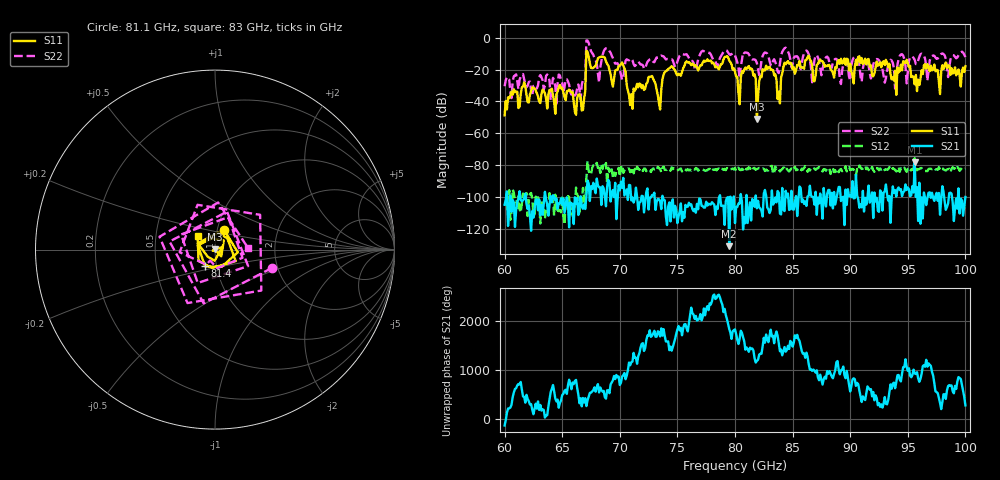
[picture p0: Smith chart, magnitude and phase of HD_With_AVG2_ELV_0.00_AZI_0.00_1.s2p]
! 11/25/2026 10:09:58 AM
! C:\ANRITSUVNA\TEMP\TEMP.S2P
! CHANNEL.1
! TR.MEASUREMENT
! RAW.DATA
# HZ S RI R 50.0
! FREQ.HZ  S11RE  S11IM  S21RE  S21IM  S12RE  S12IM  S22RE  S22IM
!; PortSelection: Port_12
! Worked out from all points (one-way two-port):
!   401 points, 60 GHz to 100 GHz, reference 50 ohm
!   highest |S21| = -78.40 dB at 95.6 GHz (marker M1); lowest = -131.0 dB at 79.5 GHz (marker M2)
!   lowest |S11| = -51.0 dB at 81.9 GHz (marker M3), VSWR 1.01, Z = 49.7 + j0.104 ohm
!   |S11| at or under -10 dB: start of sweep to 67.09 GHz; 67.23 GHz to end of sweep
!   |S22| runs from -42.8 to -1.7 dB; largest |S21 - S12| = 0.00026
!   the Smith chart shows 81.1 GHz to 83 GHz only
!   S11 on the Smith chart (normalised r, x): 81.1 GHz: 1.08, +0.24; 81.4 GHz: 0.88, -0.17; 83 GHz: 0.81, +0.12
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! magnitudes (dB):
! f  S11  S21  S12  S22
! 60 GHz  -48.8  -104.9  -103.2  -30.5
! 61.6 GHz  -30.6  -102.2  -97.9  -22.8
! 66.7 GHz  -45.7  -105.9  -103.4  -29.5
! 67.3 GHz  -12.1  -91.6  -83.8  -3.2
! 68.4 GHz  -11.8  -105.1  -80.6  -14.7
! 70.3 GHz  -17.5  -88.1  -84.9  -25.5
! 70.9 GHz  -42.3  -92.7  -84.4  -13.5
! 72.7 GHz  -24.4  -100.4  -84.3  -13.3
! 73.4 GHz  -41.0  -101.4  -82.0  -12.6
! 74.4 GHz  -18.6  -115.4  -83.6  -13.4
! 79.5 GHz  -14.4  -131.0  -83.1  -10.4
! 80 GHz  -21.2  -116.5  -81.8  -11.1
! 81.1 GHz  -18.4  -116.4  -82.7  -9.5
! 81.4 GHz  -19.3  -114.8  -83.4  -13.1
! 81.9 GHz  -51.0  -107.2  -82.5  -15.9
! 83 GHz  -18.3  -110.2  -81.9  -14.7
! 83.8 GHz  -33.9  -97.5  -82.8  -22.3
! 84.4 GHz  -16.7  -96.2  -83.5  -6.3
! 86.7 GHz  -17.5  -100.0  -81.7  -28.0
! 93.4 GHz  -16.3  -99.5  -81.3  -15.6
! 95.6 GHz  -29.3  -78.4  -75.8  -13.9
! 100 GHz  -17.9  -100.0  -82.3  -12.1
